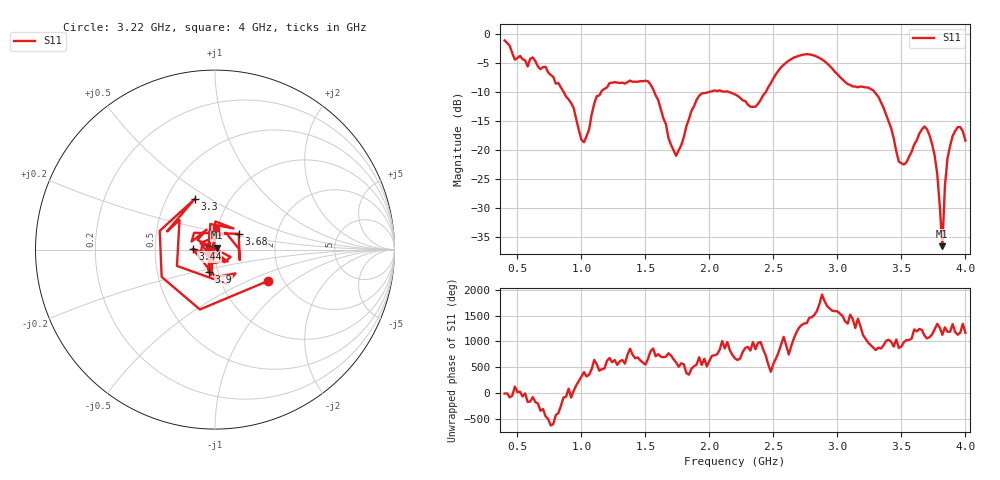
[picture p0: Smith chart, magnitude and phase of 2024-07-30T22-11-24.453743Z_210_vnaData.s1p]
!Created with skrf (http://scikit-rf.org).
# Hz S RI R 50.0
!freq ReS11 ImS11
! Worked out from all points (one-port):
!   181 points, 400 MHz to 4 GHz, reference 50 ohm
!   lowest |S11| = -36.6 dB at 3.82 GHz (marker M1), VSWR 1.03, Z = 51 + j1.1 ohm
!   |S11| at or under -10 dB: 1.568 GHz to 2 GHz (431.2 MHz wide, 24.2 % of centre); 2.148 GHz to 2.442 GHz (293.7 MHz wide, 12.8 % of centre); 3.288 GHz to end of sweep (the widest 3 of 4)
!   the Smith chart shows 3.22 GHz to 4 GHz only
!   S11 on the Smith chart (normalised r, x): 3.22 GHz: 1.68, -0.66; 3.3 GHz: 0.69, +0.43; 3.44 GHz: 0.78, +0.01; 3.68 GHz: 1.28, +0.23; 3.9 GHz: 0.90, -0.23; 4 GHz: 0.98, +0.24
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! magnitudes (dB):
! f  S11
! 400 MHz  -1.2
! 860 MHz  -10.0
! 1.02 GHz  -18.7
! 1.12 GHz  -10.8
! 1.3 GHz  -8.5
! 1.52 GHz  -8.2
! 1.7 GHz  -19.1
! 1.76 GHz  -20.1
! 1.92 GHz  -10.7
! 2.2 GHz  -10.5
! 2.36 GHz  -12.6
! 2.66 GHz  -4.1
! 2.86 GHz  -4.2
! 3.1 GHz  -8.8
! 3.22 GHz  -9.3
! 3.3 GHz  -10.3
! 3.44 GHz  -18.1
! 3.48 GHz  -22.1
! 3.56 GHz  -21.2
! 3.68 GHz  -16.0
! 3.76 GHz  -21.0
! 3.78 GHz  -24.2
! 3.82 GHz  -36.6
! 3.84 GHz  -26.3
! 3.86 GHz  -21.5
! 3.9 GHz  -17.6
! 3.96 GHz  -16.1
! 4 GHz  -18.4
